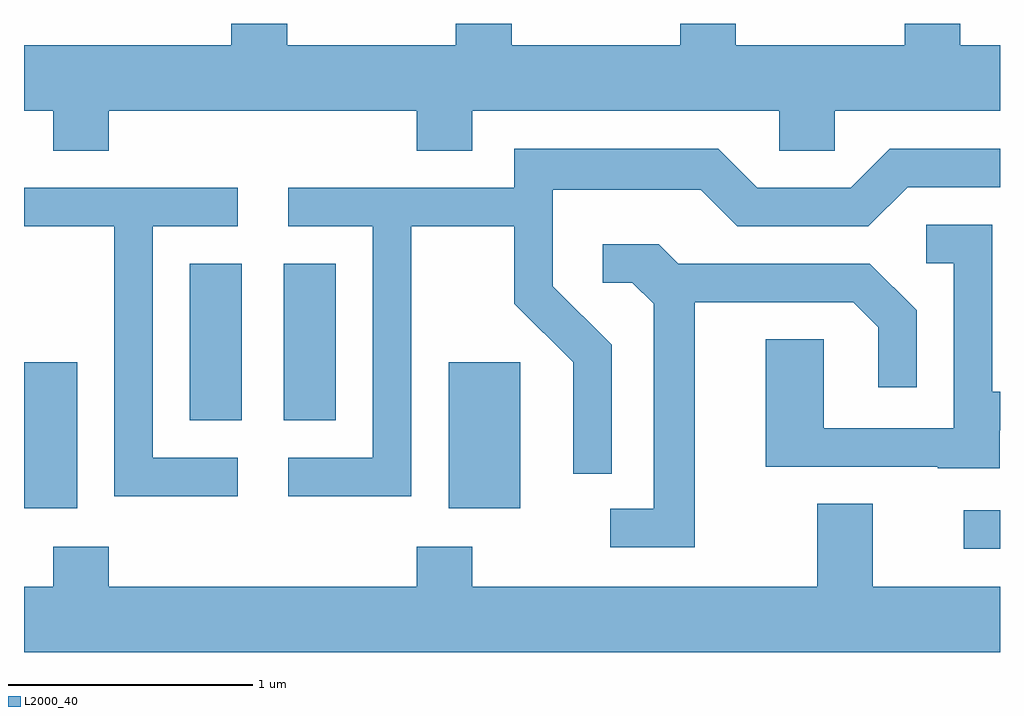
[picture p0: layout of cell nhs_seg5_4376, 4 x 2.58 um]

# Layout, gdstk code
import gdstk
lib = gdstk.Library(unit=1e-6, precision=1e-09)
def R(c, l, rs):  # rectangles x0, y0, x1, y1
    for r in rs: c.add(gdstk.rectangle(r[:2], r[2:], *l))
def P(c, l, *ps):  # polygons
    for p in ps: c.add(gdstk.Polygon(p, *l))
L2000_40 = (2000, 40)

nhs_seg5_4376 = lib.new_cell('nhs_seg5_4376')
R(nhs_seg5_4376, L2000_40, [(319.463,1423.921,319.611,1424.079), (315.611,1424.086,315.829,1424.684), (317.351,1424.086,317.644,1424.684), (316.291,1424.446,316.504,1425.089), (316.676,1424.446,316.889,1425.089)])
P(nhs_seg5_4376, L2000_40, [(315.959,1425.716),(317.221,1425.716),(317.221,1425.551),(317.449,1425.551),(317.449,1425.716),(318.706,1425.716),(318.706,1425.551),(318.934,1425.551),(318.934,1425.716),(319.611,1425.716),(319.611,1425.984),(319.449,1425.984),(319.449,1426.072),(319.221,1426.072),(319.221,1425.984),(318.529,1425.984),(318.529,1426.072),(318.301,1426.072),(318.301,1425.984),(317.609,1425.984),(317.609,1426.072),(317.381,1426.072),(317.381,1425.984),(316.689,1425.984),(316.689,1426.072),(316.461,1426.072),(316.461,1425.984),(315.611,1425.984),(315.611,1425.716),(315.731,1425.716),(315.731,1425.551),(315.959,1425.551)],
  [(317.199,1425.241),(317.621,1425.241),(317.621,1424.924),(317.861,1424.684),(317.861,1424.228),(318.019,1424.228),(318.019,1424.757),(317.779,1424.997),(317.779,1425.391),(318.384,1425.391),(318.534,1425.241),(319.072,1425.241),(319.232,1425.401),(319.611,1425.401),(319.611,1425.559),(319.159,1425.559),(318.999,1425.399),(318.617,1425.399),(318.457,1425.559),(317.621,1425.559),(317.621,1425.399),(316.693,1425.399),(316.693,1425.241),(317.041,1425.241),(317.041,1424.294),(316.693,1424.294),(316.693,1424.136),(317.199,1424.136)],
  [(316.488,1424.294),(316.139,1424.294),(316.139,1425.241),(316.488,1425.241),(316.488,1425.399),(315.611,1425.399),(315.611,1425.241),(315.981,1425.241),(315.981,1424.136),(316.488,1424.136)],
  [(319.609,1424.406),(319.611,1424.406),(319.611,1424.564),(319.579,1424.564),(319.579,1425.249),(319.308,1425.249),(319.308,1425.091),(319.421,1425.091),(319.421,1424.414),(318.889,1424.414),(318.889,1424.779),(318.651,1424.779),(318.651,1424.256),(319.355,1424.256),(319.355,1424.251),(319.609,1424.251)],
  [(318.359,1424.931),(319.009,1424.931),(319.111,1424.829),(319.111,1424.583),(319.269,1424.583),(319.269,1424.897),(319.077,1425.089),(318.292,1425.089),(318.212,1425.169),(317.983,1425.169),(317.983,1425.011),(318.104,1425.011),(318.191,1424.924),(318.191,1424.084),(318.013,1424.084),(318.013,1423.926),(318.359,1423.926)],
  [(319.611,1423.764),(319.089,1423.764),(319.089,1424.104),(318.861,1424.104),(318.861,1423.764),(317.449,1423.764),(317.449,1423.929),(317.221,1423.929),(317.221,1423.764),(315.959,1423.764),(315.959,1423.929),(315.731,1423.929),(315.731,1423.764),(315.611,1423.764),(315.611,1423.496),(319.611,1423.496)])

lib.write_gds('nhs_seg5_4376.gds')
